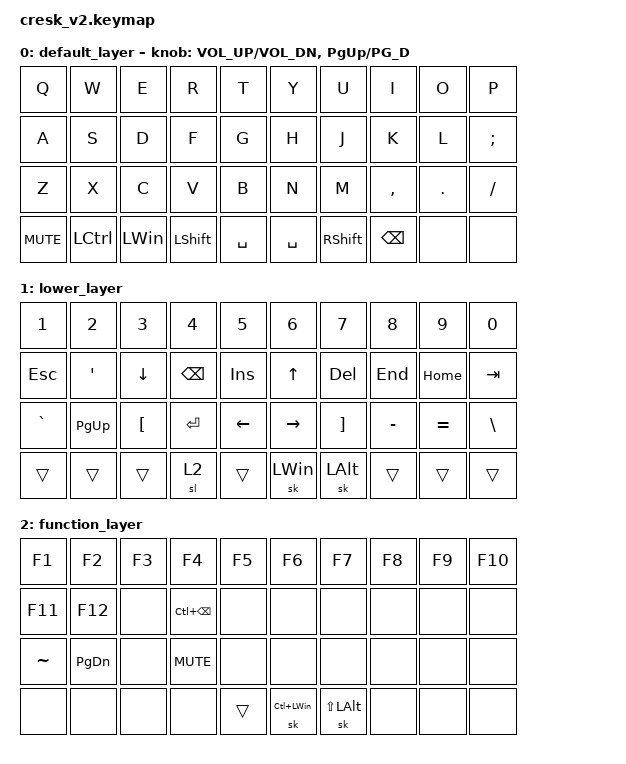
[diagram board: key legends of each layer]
/*
 * Copyright (c) 2022 The ZMK Contributors
 *
 * SPDX-License-Identifier: MIT
 */

#include <behaviors.dtsi>
#include <dt-bindings/zmk/keys.h>

&sk {
    release-after-ms = <600>;
    quick-release;
};

&sl {
    release-after-ms = <600>;
};

/ {
    behaviors {
        td0: tap_dance_0 {
            compatible = "zmk,behavior-tap-dance";
            label = "TAP_DANCE_0";
            #binding-cells = <0>;
            tapping-term-ms = <200>;
            bindings =
                <&sk LSHIFT>,
                <&caps_word>;
        };
    };

    keymap {
        compatible = "zmk,keymap";

        default_layer {
            bindings = <
     &kp Q      &kp W         &kp E           &kp R      &kp T      &kp Y            &kp U          &kp I    &kp O     &kp P
     &kp A      &kp S         &kp D           &kp F      &kp G      &kp H            &kp J          &kp K    &kp L  &kp SEMI
     &kp Z      &kp X         &kp C           &kp V      &kp B      &kp N            &kp M      &kp COMMA  &kp DOT  &kp FSLH
&kp C_MUTE  &kp LCTRL  &kp LEFT_WIN  &kp LEFT_SHIFT  &kp SPACE  &kp SPACE  &kp RIGHT_SHIFT  &kp BACKSPACE    &none     &none
            >;

            sensor-bindings = <
&inc_dec_kp C_VOL_UP C_VOL_DN
                               &inc_dec_kp PG_UP PG_D
            >;
        };

        lower_layer {
            bindings = <
   &kp N1     &kp N2    &kp N3    &kp N4    &kp N5     &kp N6    &kp N7     &kp N8     &kp N9    &kp N0
  &kp ESC    &kp SQT  &kp DOWN  &kp BSPC   &kp INS     &kp UP   &kp DEL    &kp END   &kp HOME   &kp TAB
&kp GRAVE  &kp PG_UP  &kp LBKT   &kp RET  &kp LEFT  &kp RIGHT  &kp RBKT  &kp MINUS  &kp EQUAL  &kp BSLH
   &trans     &trans    &trans     &sl 2    &trans   &sk LWIN  &sk LALT     &trans     &trans    &trans
            >;
        };

        function_layer {
            bindings = <
   &kp F1     &kp F2  &kp F3        &kp F4  &kp F5        &kp F6        &kp F7  &kp F8  &kp F9  &kp F10
  &kp F11    &kp F12   &none  &kp LC(BSPC)   &none         &none         &none   &none   &none    &none
&kp TILDE  &kp PG_DN   &none    &kp C_MUTE   &none         &none         &none   &none   &none    &none
    &none      &none   &none         &none  &trans  &sk LC(LWIN)  &sk LS(LALT)   &none   &none    &none
            >;
        };
    };
};
